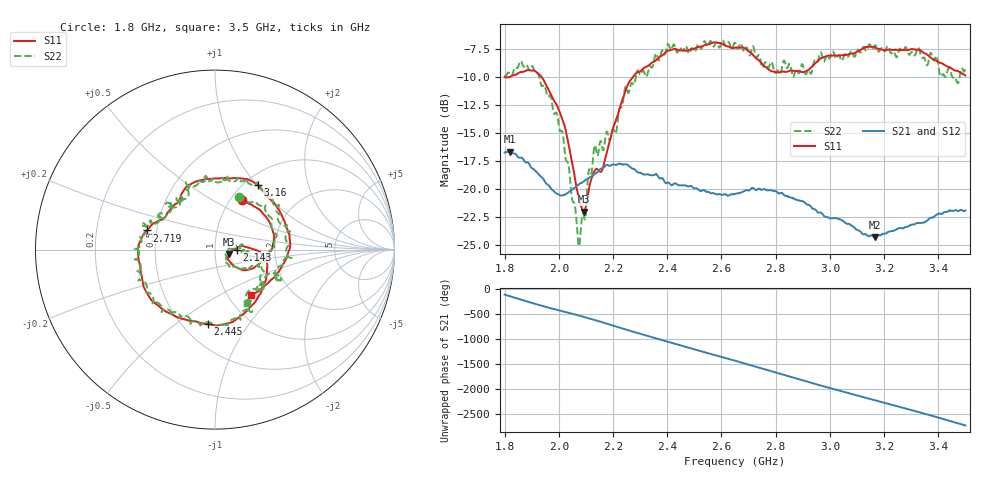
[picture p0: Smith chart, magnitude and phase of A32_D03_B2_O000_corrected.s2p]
! Created with skrf 1.9.0 (http://scikit-rf.org).
# Hz S RI R 50.0
!freq ReS11 ImS11 ReS21 ImS21 ReS12 ImS12 ReS22 ImS22
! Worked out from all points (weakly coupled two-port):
!   1601 points, 1.8 GHz to 3.5 GHz, reference 50 ohm
!   highest |S21| = -16.64 dB at 1.818 GHz (marker M1); lowest = -24.3 dB at 3.165 GHz (marker M2)
!   lowest |S11| = -22.0 dB at 2.093 GHz (marker M3), VSWR 1.17, Z = 58.1 - j2.82 ohm
!   |S11| at or under -10 dB: start of sweep to 1.816 GHz; 1.937 GHz to 2.273 GHz (335.9 MHz wide, 16 % of centre)
!   |S22| runs from -25.1 to -6.7 dB; largest |S21 - S12| = 0.0025
!   S11 on the Smith chart (normalised r, x): 1.8 GHz: 1.12, +0.70; 2.143 GHz: 1.28, +0.00; 2.445 GHz: 0.66, -0.66; 2.719 GHz: 0.44, +0.11; 3.16 GHz: 1.15, +1.02; 3.5 GHz: 1.27, -0.72
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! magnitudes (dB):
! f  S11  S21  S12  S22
! 1.8 GHz  -10.0  -16.7  -16.7  -9.8
! 1.818 GHz  -10.0  -16.6  -16.7  -9.6
! 1.903 GHz  -9.4  -18.2  -18.1  -9.0
! 1.968 GHz  -11.4  -19.8  -19.9  -11.6
! 2.014 GHz  -13.8  -20.6  -20.6  -15.0
! 2.071 GHz  -20.5  -19.6  -19.7  -24.6
! 2.084 GHz  -21.6  -19.4  -19.4  -22.9
! 2.093 GHz  -22.0  -19.3  -19.3  -22.5
! 2.112 GHz  -19.9  -19.0  -19.0  -18.2
! 2.143 GHz  -18.2  -18.4  -18.4  -17.0
! 2.209 GHz  -13.9  -17.8  -17.8  -15.0
! 2.259 GHz  -10.4  -17.9  -17.9  -11.3
! 2.367 GHz  -8.3  -18.9  -18.9  -8.5
! 2.445 GHz  -7.6  -19.7  -19.7  -7.3
! 2.65 GHz  -7.4  -20.4  -20.4  -6.9
! 2.719 GHz  -8.1  -19.9  -19.9  -7.4
! 2.802 GHz  -9.6  -20.2  -20.2  -9.5
! 2.934 GHz  -9.0  -21.7  -21.6  -9.5
! 3.16 GHz  -7.3  -24.2  -24.2  -7.4
! 3.165 GHz  -7.3  -24.3  -24.3  -7.2
! 3.217 GHz  -7.5  -23.8  -23.8  -7.4
! 3.5 GHz  -9.8  -21.9  -21.9  -9.2
